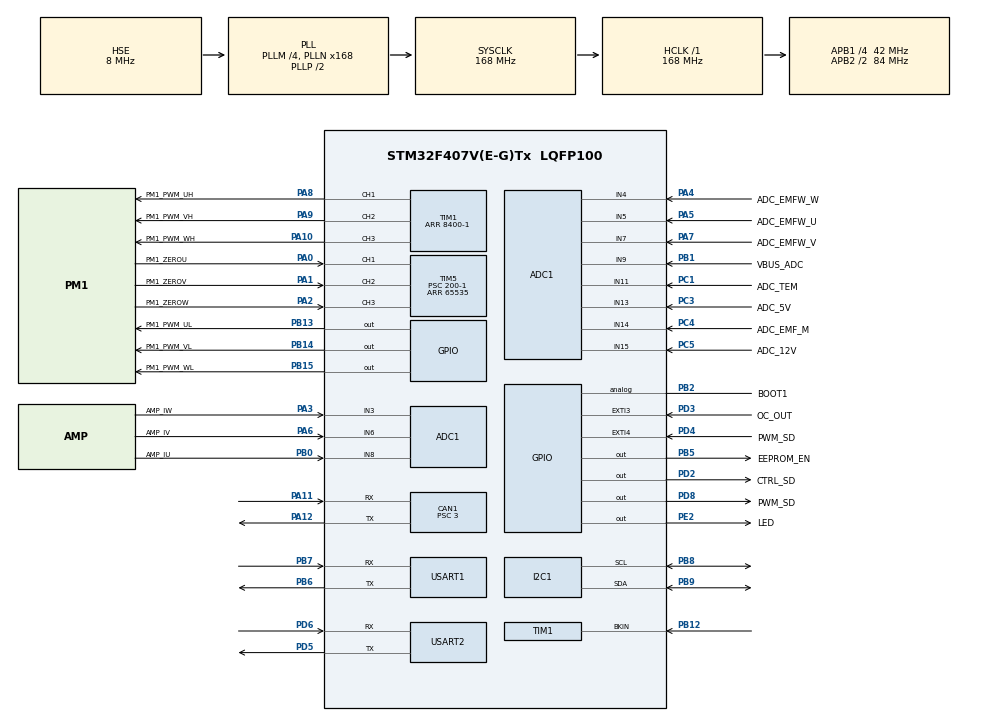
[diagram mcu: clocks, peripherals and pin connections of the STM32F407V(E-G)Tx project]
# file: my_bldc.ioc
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ADC1.Channel-0\#ChannelRegularConversion=ADC_CHANNEL_3
ADC1.Channel-1\#ChannelRegularConversion=ADC_CHANNEL_4
ADC1.Channel-10\#ChannelRegularConversion=ADC_CHANNEL_TEMPSENSOR
ADC1.Channel-11\#ChannelRegularConversion=ADC_CHANNEL_11
ADC1.Channel-2\#ChannelRegularConversion=ADC_CHANNEL_5
ADC1.Channel-3\#ChannelRegularConversion=ADC_CHANNEL_6
ADC1.Channel-4\#ChannelRegularConversion=ADC_CHANNEL_7
ADC1.Channel-5\#ChannelRegularConversion=ADC_CHANNEL_8
ADC1.Channel-6\#ChannelRegularConversion=ADC_CHANNEL_9
ADC1.Channel-7\#ChannelRegularConversion=ADC_CHANNEL_14
ADC1.Channel-8\#ChannelRegularConversion=ADC_CHANNEL_15
ADC1.Channel-9\#ChannelRegularConversion=ADC_CHANNEL_13
ADC1.ContinuousConvMode=ENABLE
ADC1.DMAContinuousRequests=ENABLE
ADC1.DiscontinuousConvMode=DISABLE
ADC1.EOCSelection=ADC_EOC_SEQ_CONV
ADC1.NbrOfConversion=12
ADC1.NbrOfConversionFlag=1
ADC1.Rank-0\#ChannelRegularConversion=1
ADC1.Rank-1\#ChannelRegularConversion=2
ADC1.Rank-10\#ChannelRegularConversion=11
ADC1.Rank-11\#ChannelRegularConversion=12
ADC1.Rank-2\#ChannelRegularConversion=3
ADC1.Rank-3\#ChannelRegularConversion=4
ADC1.Rank-4\#ChannelRegularConversion=5
ADC1.Rank-5\#ChannelRegularConversion=6
ADC1.Rank-6\#ChannelRegularConversion=7
ADC1.Rank-7\#ChannelRegularConversion=8
ADC1.Rank-8\#ChannelRegularConversion=9
ADC1.Rank-9\#ChannelRegularConversion=10
ADC1.SamplingTime-0\#ChannelRegularConversion=ADC_SAMPLETIME_15CYCLES
ADC1.SamplingTime-1\#ChannelRegularConversion=ADC_SAMPLETIME_15CYCLES
ADC1.SamplingTime-10\#ChannelRegularConversion=ADC_SAMPLETIME_112CYCLES
ADC1.SamplingTime-11\#ChannelRegularConversion=ADC_SAMPLETIME_15CYCLES
ADC1.SamplingTime-2\#ChannelRegularConversion=ADC_SAMPLETIME_15CYCLES
ADC1.SamplingTime-3\#ChannelRegularConversion=ADC_SAMPLETIME_15CYCLES
ADC1.SamplingTime-4\#ChannelRegularConversion=ADC_SAMPLETIME_15CYCLES
ADC1.SamplingTime-5\#ChannelRegularConversion=ADC_SAMPLETIME_15CYCLES
ADC1.SamplingTime-6\#ChannelRegularConversion=ADC_SAMPLETIME_15CYCLES
ADC1.SamplingTime-7\#ChannelRegularConversion=ADC_SAMPLETIME_15CYCLES
ADC1.SamplingTime-8\#ChannelRegularConversion=ADC_SAMPLETIME_15CYCLES
ADC1.SamplingTime-9\#ChannelRegularConversion=ADC_SAMPLETIME_15CYCLES
ADC1.ScanConvMode=ENABLE
ADC1.master=1
CAN1.ABOM=ENABLE
CAN1.BS1=CAN_BS1_10TQ
CAN1.BS2=CAN_BS2_3TQ
CAN1.CalculateBaudRate=1000000
CAN1.CalculateTimeBit=1000
CAN1.CalculateTimeQuantum=71.42857142857143
CAN1.Prescaler=3
Dma.ADC1.0.Direction=DMA_PERIPH_TO_MEMORY
Dma.ADC1.0.FIFOMode=DMA_FIFOMODE_DISABLE
Dma.ADC1.0.Instance=DMA2_Stream0
Dma.ADC1.0.MemDataAlignment=DMA_MDATAALIGN_HALFWORD
Dma.ADC1.0.MemInc=DMA_MINC_ENABLE
Dma.ADC1.0.Mode=DMA_CIRCULAR
Dma.ADC1.0.PeriphDataAlignment=DMA_PDATAALIGN_HALFWORD
Dma.ADC1.0.PeriphInc=DMA_PINC_DISABLE
Dma.ADC1.0.Priority=DMA_PRIORITY_MEDIUM
Dma.Request0=ADC1
Dma.Request1=USART1_RX
Dma.Request2=USART1_TX
Dma.USART1_RX.1.Direction=DMA_PERIPH_TO_MEMORY
Dma.USART1_RX.1.FIFOMode=DMA_FIFOMODE_DISABLE
Dma.USART1_RX.1.Instance=DMA2_Stream2
Dma.USART1_RX.1.MemDataAlignment=DMA_MDATAALIGN_BYTE
Dma.USART1_RX.1.MemInc=DMA_MINC_ENABLE
Dma.USART1_RX.1.Mode=DMA_NORMAL
Dma.USART1_RX.1.PeriphDataAlignment=DMA_PDATAALIGN_BYTE
Dma.USART1_RX.1.PeriphInc=DMA_PINC_DISABLE
Dma.USART1_RX.1.Priority=DMA_PRIORITY_HIGH
Dma.USART1_TX.2.Direction=DMA_MEMORY_TO_PERIPH
Dma.USART1_TX.2.FIFOMode=DMA_FIFOMODE_DISABLE
Dma.USART1_TX.2.Instance=DMA2_Stream7
Dma.USART1_TX.2.MemDataAlignment=DMA_MDATAALIGN_BYTE
Dma.USART1_TX.2.MemInc=DMA_MINC_ENABLE
Dma.USART1_TX.2.Mode=DMA_NORMAL
Dma.USART1_TX.2.PeriphDataAlignment=DMA_PDATAALIGN_BYTE
Dma.USART1_TX.2.PeriphInc=DMA_PINC_DISABLE
Dma.USART1_TX.2.Priority=DMA_PRIORITY_HIGH
FREERTOS.Tasks01=defaultTask,24,128,StartDefaultTask,Default,NULL,Dynamic,NULL,NULL;CommutationTask,47,128,CommutationTaskFun,Default,NULL,Static,CommutationTaskBuffer,CommutationTaskControlBlock;BEMF_Task,54,160,BEMF_Task_Fun,Default,NULL,Dynamic,NULL,NULL;SpeedTask,24,128,SpeedTaskFun,Default,NULL,Dynamic,NULL,NULL;StartupTask,53,512,StartupTaskFun,Default,NULL,Dynamic,NULL,NULL;MonitorTask,52,512,MonitorTaskFun,Default,NULL,Dynamic,NULL,NULL
FREERTOS.configENABLE_FPU=1
FREERTOS.configGENERATE_RUN_TIME_STATS=0
FREERTOS.configUSE_STATS_FORMATTING_FUNCTIONS=0
Mcu.Family=STM32F4
Mcu.Name=STM32F407V(E-G)Tx
Mcu.Package=LQFP100
NVIC.CAN1_RX0_IRQn=true\:5\:0\:false\:false\:true\:true\:true\:true\:true
NVIC.DMA2_Stream0_IRQn=true\:5\:0\:true\:false\:true\:true\:false\:true\:true
NVIC.DMA2_Stream2_IRQn=true\:5\:0\:false\:false\:true\:true\:false\:true\:true
NVIC.DMA2_Stream7_IRQn=true\:5\:0\:false\:false\:true\:true\:false\:true\:true
NVIC.EXTI3_IRQn=true\:5\:0\:true\:false\:true\:true\:true\:true\:true
NVIC.EXTI4_IRQn=true\:5\:0\:false\:false\:true\:true\:true\:true\:true
NVIC.PriorityGroup=NVIC_PRIORITYGROUP_4
NVIC.TIM1_UP_TIM10_IRQn=true\:1\:0\:true\:false\:true\:false\:true\:true\:true
NVIC.TIM5_IRQn=true\:5\:0\:false\:false\:true\:true\:true\:true\:true
NVIC.TIM6_DAC_IRQn=true\:5\:0\:false\:false\:true\:true\:true\:true\:true
NVIC.TIM8_UP_TIM13_IRQn=true\:15\:0\:false\:false\:true\:false\:false\:true\:true
NVIC.TimeBase=TIM8_UP_TIM13_IRQn
NVIC.TimeBaseIP=TIM8
NVIC.USART1_IRQn=true\:5\:0\:false\:false\:true\:true\:true\:true\:true
NVIC.USART2_IRQn=true\:5\:0\:false\:false\:true\:true\:true\:true\:true
PA0-WKUP.GPIO_Label=PM1_ZEROU
PA0-WKUP.GPIO_ModeDefaultPP=GPIO_MODE_AF_OD
PA0-WKUP.GPIO_PuPd=GPIO_PULLUP
PA0-WKUP.Signal=S_TIM5_CH1
PA1.GPIO_Label=PM1_ZEROV
PA1.GPIO_ModeDefaultPP=GPIO_MODE_AF_OD
PA1.GPIO_PuPd=GPIO_PULLUP
PA1.Signal=S_TIM5_CH2
PA10.GPIO_Label=PM1_PWM_WH
PA10.GPIO_ModeDefaultPP=GPIO_MODE_AF_PP
PA10.GPIO_Speed=GPIO_SPEED_FREQ_HIGH
PA10.Signal=S_TIM1_CH3
PA11.GPIO_PuPd=GPIO_PULLUP
PA11.Mode=CAN_Activate
PA11.Signal=CAN1_RX
PA12.GPIO_PuPd=GPIO_PULLUP
PA12.Mode=CAN_Activate
PA12.Signal=CAN1_TX
PA13.Mode=Serial_Wire
PA13.Signal=SYS_JTMS-SWDIO
PA14.Mode=Serial_Wire
PA14.Signal=SYS_JTCK-SWCLK
PA2.GPIO_Label=PM1_ZEROW
PA2.GPIO_ModeDefaultPP=GPIO_MODE_AF_OD
PA2.GPIO_PuPd=GPIO_PULLUP
PA2.Signal=S_TIM5_CH3
PA3.GPIO_Label=AMP_IW
PA3.Signal=ADCx_IN3
PA4.GPIO_Label=ADC_EMFW_W
PA4.Signal=ADCx_IN4
PA5.GPIO_Label=ADC_EMFW_U
PA5.Signal=ADCx_IN5
PA6.GPIO_Label=AMP_IV
PA6.Signal=ADCx_IN6
PA7.GPIO_Label=ADC_EMFW_V
PA7.Signal=ADCx_IN7
PA8.GPIO_Label=PM1_PWM_UH
PA8.GPIO_ModeDefaultPP=GPIO_MODE_AF_PP
PA8.GPIO_Speed=GPIO_SPEED_FREQ_HIGH
PA8.Signal=S_TIM1_CH1
PA9.GPIO_Label=PM1_PWM_VH
PA9.GPIO_ModeDefaultPP=GPIO_MODE_AF_PP
PA9.GPIO_Speed=GPIO_SPEED_FREQ_HIGH
PA9.Signal=S_TIM1_CH2
PB0.GPIO_Label=AMP_IU
PB0.Signal=ADCx_IN8
PB1.GPIO_Label=VBUS_ADC
PB1.Signal=ADCx_IN9
PB12.Mode=Activate-Break-Input
PB12.Signal=TIM1_BKIN
PB13.GPIO_Label=PM1_PWM_UL
PB13.Signal=GPIO_Output
PB14.GPIO_Label=PM1_PWM_VL
PB14.Signal=GPIO_Output
PB15.GPIO_Label=PM1_PWM_WL
PB15.Signal=GPIO_Output
PB2.GPIO_Label=BOOT1
PB2.Signal=GPIO_Analog
PB5.GPIO_Label=EEPROM_EN
PB5.Signal=GPIO_Output
PB6.Mode=Asynchronous
PB6.Signal=USART1_TX
PB7.Mode=Asynchronous
PB7.Signal=USART1_RX
PB8.Mode=I2C
PB8.Signal=I2C1_SCL
PB9.Mode=I2C
PB9.Signal=I2C1_SDA
PC1.GPIO_Label=ADC_TEM
PC1.Signal=ADCx_IN11
PC3.GPIO_Label=ADC_5V
PC3.Signal=ADCx_IN13
PC4.GPIO_Label=ADC_EMF_M
PC4.Signal=ADCx_IN14
PC5.GPIO_Label=ADC_12V
PC5.Signal=ADCx_IN15
PD2.GPIO_Label=CTRL_SD
PD2.PinState=GPIO_PIN_SET
PD2.Signal=GPIO_Output
PD3.GPIO_Label=OC_OUT
PD3.Signal=GPXTI3
PD4.GPIO_Label=PWM_SD
PD4.Signal=GPXTI4
PD5.Mode=Asynchronous
PD5.Signal=USART2_TX
PD6.Mode=Asynchronous
PD6.Signal=USART2_RX
PD8.GPIO_Label=PWM_SD
PD8.PinState=GPIO_PIN_RESET
PD8.Signal=GPIO_Output
PE2.GPIO_Label=LED
PE2.GPIO_ModeDefaultOutputPP=GPIO_MODE_OUTPUT_OD
PE2.GPIO_PuPd=GPIO_NOPULL
PE2.Signal=GPIO_Output
PH0-OSC_IN.Mode=HSE-External-Oscillator
PH0-OSC_IN.Signal=RCC_OSC_IN
PH1-OSC_OUT.Mode=HSE-External-Oscillator
PH1-OSC_OUT.Signal=RCC_OSC_OUT
ProjectManager.HeapSize=0x200
ProjectManager.StackSize=0x400
ProjectManager.TargetToolchain=MDK-ARM V5
RCC.48MHZClocksFreq_Value=84000000
RCC.AHBFreq_Value=168000000
RCC.APB1CLKDivider=RCC_HCLK_DIV4
RCC.APB1Freq_Value=42000000
RCC.APB1TimFreq_Value=84000000
RCC.APB2CLKDivider=RCC_HCLK_DIV2
RCC.APB2Freq_Value=84000000
RCC.APB2TimFreq_Value=168000000
RCC.CortexFreq_Value=168000000
RCC.HCLKFreq_Value=168000000
RCC.HSE_VALUE=8000000
RCC.HSI_VALUE=16000000
RCC.LSE_VALUE=32768
RCC.PLLM=4
RCC.PLLN=168
RCC.PLLSourceVirtual=RCC_PLLSOURCE_HSE
RCC.SYSCLKFreq_VALUE=168000000
RCC.SYSCLKSource=RCC_SYSCLKSOURCE_PLLCLK
RCC.VCOOutputFreq_Value=336000000
SH.ADCx_IN11.0=ADC1_IN11,IN11
SH.ADCx_IN13.0=ADC1_IN13,IN13
SH.ADCx_IN14.0=ADC1_IN14,IN14
SH.ADCx_IN15.0=ADC1_IN15,IN15
SH.ADCx_IN3.0=ADC1_IN3,IN3
SH.ADCx_IN4.0=ADC1_IN4,IN4
SH.ADCx_IN5.0=ADC1_IN5,IN5
SH.ADCx_IN6.0=ADC1_IN6,IN6
SH.ADCx_IN7.0=ADC1_IN7,IN7
SH.ADCx_IN8.0=ADC1_IN8,IN8
SH.ADCx_IN9.0=ADC1_IN9,IN9
SH.S_TIM1_CH1.0=TIM1_CH1,PWM Generation1 CH1
SH.S_TIM1_CH2.0=TIM1_CH2,PWM Generation2 CH2
SH.S_TIM1_CH3.0=TIM1_CH3,PWM Generation3 CH3
SH.S_TIM5_CH1.0=TIM5_CH1,Xored_Inputs_Hall_Sensor_Interface
SH.S_TIM5_CH2.0=TIM5_CH2,Xored_Inputs_Hall_Sensor_Interface
SH.S_TIM5_CH3.0=TIM5_CH3,Xored_Inputs_Hall_Sensor_Interface
TIM1.AutoReloadPreload=TIM_AUTORELOAD_PRELOAD_ENABLE
TIM1.AutomaticOutput=TIM_AUTOMATICOUTPUT_ENABLE
TIM1.BreakPolarity=TIM_BREAKPOLARITY_LOW
TIM1.BreakState=TIM_BREAK_DISABLE
TIM1.Channel-PWM\ Generation1\ CH1=TIM_CHANNEL_1
TIM1.Channel-PWM\ Generation2\ CH2=TIM_CHANNEL_2
TIM1.Channel-PWM\ Generation3\ CH3=TIM_CHANNEL_3
TIM1.Period=8400-1
TIM5.AutoReloadPreload=TIM_AUTORELOAD_PRELOAD_DISABLE
TIM5.IC1Prescaler=TIM_ICPSC_DIV4
TIM5.Period=65535
TIM5.Prescaler=200-1
TIM6.AutoReloadPreload=TIM_AUTORELOAD_PRELOAD_ENABLE
TIM6.Period=8400-1
TIM6.Prescaler=9
USART1.VirtualMode=VM_ASYNC
USART2.VirtualMode=VM_ASYNC
VP_ADC1_TempSens_Input.Mode=IN-TempSens
VP_FREERTOS_VS_CMSIS_V2.Mode=CMSIS_V2
VP_SYS_VS_tim8.Mode=TIM8
VP_TIM1_VS_ClockSourceINT.Mode=Internal
VP_TIM5_VS_ClockSourceINT.Mode=Internal
VP_TIM6_VS_ClockSourceINT.Mode=Enable_Timer
board=custom

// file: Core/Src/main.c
/* USER CODE BEGIN Header */
/**
  ******************************************************************************
  * @file           : main.c
  * @brief          : Main program body
  ******************************************************************************
  * @attention
  *
  * Copyright (c) 2025 STMicroelectronics.
  * All rights reserved.
  *
  * This software is licensed under terms that can be found in the LICENSE file
  * in the root directory of this software component.
  * If no LICENSE file comes with this software, it is provided AS-IS.
  *
  ******************************************************************************
  */
/* USER CODE END Header */
#include "main.h"
#include "cmsis_os.h"
#include "adc.h"
#include "can.h"
#include "dma.h"
#include "i2c.h"
#include "tim.h"
#include "usart.h"
#include "gpio.h"

/* USER CODE BEGIN Includes */
#include "FreeRTOS.h"
#include "task.h"
#include "bldc.h"
#include "pid.h"
#include "zero_ctr.h"
#include "param.h"
/* USER CODE END Includes */

/* USER CODE BEGIN PV */

//ADC use
extern uint16_t g_adc_value[ADC_SUM];
/* USER CODE END PV */

void SystemClock_Config(void);
void MX_FREERTOS_Init(void);

int main(void)
{

  /* MCU Configuration--------------------------------------------------------*/

  /* Reset of all peripherals, Initializes the Flash interface and the Systick. */
  HAL_Init();

  /* USER CODE BEGIN Init */
  // FPU
  SCB->CPACR |= ((3UL << 10 * 2)|(3UL << 11 * 2));  // ����FPU
  /* USER CODE END Init */

  /* Configure the system clock */
  SystemClock_Config();

  /* Initialize all configured peripherals */
  MX_GPIO_Init();
  MX_DMA_Init();
  MX_ADC1_Init();
  MX_TIM5_Init();
  MX_I2C1_Init();
  MX_TIM1_Init();
  MX_USART1_UART_Init();
  MX_USART2_UART_Init();
  MX_TIM6_Init();
  MX_CAN1_Init();
  /* USER CODE BEGIN 2 */
	pid_init();
	(void)Param_Init_();
	// ADC
  HAL_ADC_Start_DMA(&hadc1,
                     (uint32_t*)g_adc_value,
                     ADC_SUM);

  (void)Uart_StartRxToIdleDMA(&huart1);//开启DMA接收
  /* USER CODE END 2 */

  /* Init scheduler */
  osKernelInitialize();  /* Call init function for freertos objects (in cmsis_os2.c) */
  MX_FREERTOS_Init();

  /* Start scheduler */
  osKernelStart();

  /* We should never get here as control is now taken by the scheduler */

  /* Infinite loop */
  /* USER CODE BEGIN WHILE */
	//modbus_init();
  while (1)
  {
    /* USER CODE END WHILE */

  }
}

void SystemClock_Config(void)
{
  RCC_OscInitTypeDef RCC_OscInitStruct = {0};
  RCC_ClkInitTypeDef RCC_ClkInitStruct = {0};

  /** Configure the main internal regulator output voltage
  */
  __HAL_RCC_PWR_CLK_ENABLE();
  __HAL_PWR_VOLTAGESCALING_CONFIG(PWR_REGULATOR_VOLTAGE_SCALE1);

  /** Initializes the RCC Oscillators according to the specified parameters
  * in the RCC_OscInitTypeDef structure.
  */
  RCC_OscInitStruct.OscillatorType = RCC_OSCILLATORTYPE_HSE;
  RCC_OscInitStruct.HSEState = RCC_HSE_ON;
  RCC_OscInitStruct.PLL.PLLState = RCC_PLL_ON;
  RCC_OscInitStruct.PLL.PLLSource = RCC_PLLSOURCE_HSE;
  RCC_OscInitStruct.PLL.PLLM = 4;
  RCC_OscInitStruct.PLL.PLLN = 168;
  RCC_OscInitStruct.PLL.PLLP = RCC_PLLP_DIV2;
  RCC_OscInitStruct.PLL.PLLQ = 4;
  if (HAL_RCC_OscConfig(&RCC_OscInitStruct) != HAL_OK)
  {
    Error_Handler();
  }

  /** Initializes the CPU, AHB and APB buses clocks
  */
  RCC_ClkInitStruct.ClockType = RCC_CLOCKTYPE_HCLK|RCC_CLOCKTYPE_SYSCLK
                              |RCC_CLOCKTYPE_PCLK1|RCC_CLOCKTYPE_PCLK2;
  RCC_ClkInitStruct.SYSCLKSource = RCC_SYSCLKSOURCE_PLLCLK;
  RCC_ClkInitStruct.AHBCLKDivider = RCC_SYSCLK_DIV1;
  RCC_ClkInitStruct.APB1CLKDivider = RCC_HCLK_DIV4;
  RCC_ClkInitStruct.APB2CLKDivider = RCC_HCLK_DIV2;

  if (HAL_RCC_ClockConfig(&RCC_ClkInitStruct, FLASH_LATENCY_5) != HAL_OK)
  {
    Error_Handler();
  }
}

void HAL_TIM_PeriodElapsedCallback(TIM_HandleTypeDef *htim)
{
  /* USER CODE BEGIN Callback 0 */
  HAL_TIM_PeriodElapsedCallback_MY(htim);
  /* USER CODE END Callback 0 */
  if (htim->Instance == TIM8)
  {
    HAL_IncTick();
  }
}

void Error_Handler(void)
{
  __disable_irq();
  while (1)
  {
  }
}

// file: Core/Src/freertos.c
/* USER CODE BEGIN Header */
/**
  ******************************************************************************
  * File Name          : freertos.c
  * Description        : Code for freertos applications
  ******************************************************************************
  * @attention
  *
  * Copyright (c) 2025 STMicroelectronics.
  * All rights reserved.
  *
  * This software is licensed under terms that can be found in the LICENSE file
  * in the root directory of this software component.
  * If no LICENSE file comes with this software, it is provided AS-IS.
  *
  ******************************************************************************
  */
/* USER CODE END Header */

#include "FreeRTOS.h"
#include "task.h"
#include "main.h"
#include "cmsis_os.h"

/* USER CODE BEGIN Includes */
#include "queue.h"
#include "usart.h"
#include <string.h>
#include "adc.h"
#include "pid.h"
#include "bldc.h"
#include "modbus.h"
/* USER CODE END Includes */

typedef StaticTask_t osStaticThreadDef_t;
/* USER CODE BEGIN PTD */
extern float g_adc_u_value[ADC_CH_NUM];
/* USER CODE END PTD */

/* Definitions for defaultTask */
osThreadId_t defaultTaskHandle;
const osThreadAttr_t defaultTask_attributes = {
  .name = "defaultTask",
  .stack_size = 128 * 4,
  .priority = (osPriority_t) osPriorityNormal,
};
/* Definitions for CommutationTask */
osThreadId_t CommutationTaskHandle;
uint32_t CommutationTaskBuffer[ 128 ];
osStaticThreadDef_t CommutationTaskControlBlock;
const osThreadAttr_t CommutationTask_attributes = {
  .name = "CommutationTask",
  .cb_mem = &CommutationTaskControlBlock,
  .cb_size = sizeof(CommutationTaskControlBlock),
  .stack_mem = &CommutationTaskBuffer[0],
  .stack_size = sizeof(CommutationTaskBuffer),
  .priority = (osPriority_t) osPriorityHigh7,
};
/* Definitions for BEMF_Task */
osThreadId_t BEMF_TaskHandle;
const osThreadAttr_t BEMF_Task_attributes = {
  .name = "BEMF_Task",
  .stack_size = 160 * 4,
  .priority = (osPriority_t) osPriorityRealtime6,
};
/* Definitions for SpeedTask */
osThreadId_t SpeedTaskHandle;
const osThreadAttr_t SpeedTask_attributes = {
  .name = "SpeedTask",
  .stack_size = 128 * 4,
  .priority = (osPriority_t) osPriorityNormal,
};
/* Definitions for StartupTask */
osThreadId_t StartupTaskHandle;
const osThreadAttr_t StartupTask_attributes = {
  .name = "StartupTask",
  .stack_size = 512 * 4,
  .priority = (osPriority_t) osPriorityRealtime5,
};
/* Definitions for MonitorTask */
osThreadId_t MonitorTaskHandle;
const osThreadAttr_t MonitorTask_attributes = {
  .name = "MonitorTask",
  .stack_size = 512 * 4,
  .priority = (osPriority_t) osPriorityRealtime4,
};

void StartDefaultTask(void *argument);
void CommutationTaskFun(void *argument);
void BEMF_Task_Fun(void *argument);
void SpeedTaskFun(void *argument);
void StartupTaskFun(void *argument);
void MonitorTaskFun(void *argument);

void MX_FREERTOS_Init(void); /* (MISRA C 2004 rule 8.1) */

void MX_FREERTOS_Init(void) {

  /* Create the thread(s) */
  /* creation of defaultTask */
  defaultTaskHandle = osThreadNew(StartDefaultTask, NULL, &defaultTask_attributes);

  /* creation of CommutationTask */
  CommutationTaskHandle = osThreadNew(CommutationTaskFun, NULL, &CommutationTask_attributes);

  /* creation of BEMF_Task */
  BEMF_TaskHandle = osThreadNew(BEMF_Task_Fun, NULL, &BEMF_Task_attributes);

  /* creation of SpeedTask */
  SpeedTaskHandle = osThreadNew(SpeedTaskFun, NULL, &SpeedTask_attributes);

  /* creation of StartupTask */
  StartupTaskHandle = osThreadNew(StartupTaskFun, NULL, &StartupTask_attributes);

  /* creation of MonitorTask */
  MonitorTaskHandle = osThreadNew(MonitorTaskFun, NULL, &MonitorTask_attributes);

}

void StartDefaultTask(void *argument)
{
  for(;;)
  {
    osDelay(1);
  }
}

void CommutationTaskFun(void *argument)
{
  /* USER CODE BEGIN CommutationTaskFun */
  /* Infinite loop */
  for(;;)
  {
		//uart_print("CommutationTask\r\n");
    osDelay(1);
  }
  /* USER CODE END CommutationTaskFun */
}

void BEMF_Task_Fun(void *argument)
{
  /* USER CODE BEGIN BEMF_Task_Fun */
  /* Infinite loop */
  for(;;)
  {
		//uart_print("BEMFTask\r\n");
    osDelay(1);
  }
  /* USER CODE END BEMF_Task_Fun */
}

void SpeedTaskFun(void *argument)
{
  /* USER CODE BEGIN SpeedTaskFun */

  /* Infinite loop */
  for(;;)
  {
		//uart_print("SpeedTask\r\n");

    osDelay(1);
  }
  /* USER CODE END SpeedTaskFun */
}

void StartupTaskFun(void *argument)
{
  /* USER CODE BEGIN StartupTaskFun */
  /* Infinite loop */
  for(;;)
  {
		//uart_print("StartupTask\r\n");
    osDelay(500);
    HAL_GPIO_WritePin(LED_GPIO_Port, LED_Pin, GPIO_PIN_RESET);
		osDelay(500);
		HAL_GPIO_WritePin(LED_GPIO_Port, LED_Pin, GPIO_PIN_SET);
  }
  /* USER CODE END StartupTaskFun */
}

void MonitorTaskFun(void *argument)
{
  /* USER CODE BEGIN MonitorTaskFun */
	extern GetValue_t sensor_data;//adc data
	extern UART_Frame_t UART_Rx_Data;//uart data
	extern UART_Frame_t UART_Tx_Data;//uart data
	TickType_t lastTick = 0;
	g_speed_pid.SetPoint = -3000;
  /* Infinite loop */
  for(;;)
  {
//get data test code,test result is oK.
//				if(UART_Rx_Data.status)
//				{
//						UART_Rx_Data.status = 0;
//						HAL_UART_Transmit(
//								&huart1,
//								UART_Rx_Data.buf,
//								UART_Rx_Data.len,
//								100);
//					Uart_SendDMA(&huart1,
//                       UART_Rx_Data.buf,
//                       UART_Rx_Data.len);
//				}

				if(UART_Rx_Data.status)
				{
						UART_Rx_Data.status = 0;

						Modbus_Parse(
								UART_Rx_Data.buf,
								UART_Rx_Data.len);
				}

        if ((xTaskGetTickCount() - lastTick) > 1000)
        {
            lastTick = xTaskGetTickCount();
        }

    osDelay(1);

  }
  /* USER CODE END MonitorTaskFun */
}
